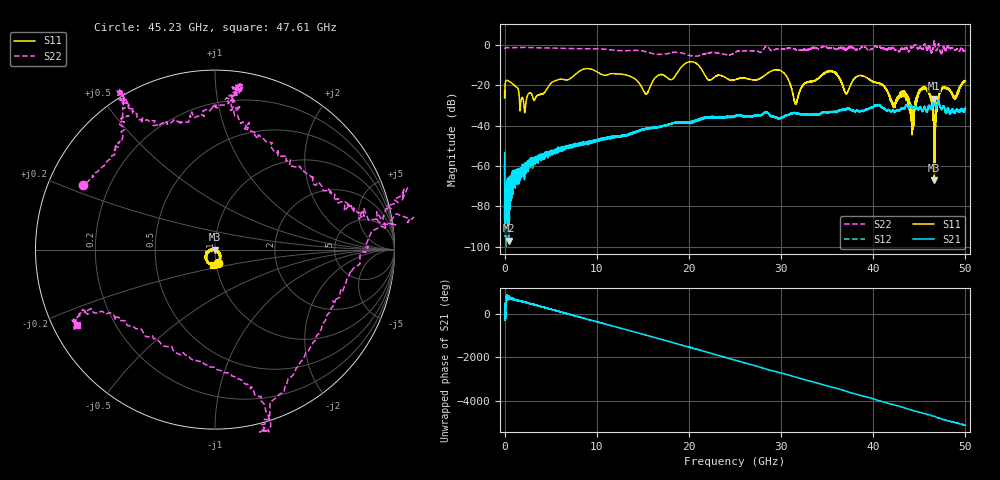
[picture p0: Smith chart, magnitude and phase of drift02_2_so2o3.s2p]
!Created with skrf (http://scikit-rf.org).
# Hz S RI R 50.0
!freq ReS11 ImS11 ReS21 ImS21 ReS12 ImS12 ReS22 ImS22
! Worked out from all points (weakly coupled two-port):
!   10001 points, 300 kHz to 50 GHz, reference 50 ohm
!   highest |S21| = -26.63 dB at 46.61 GHz (marker M1); lowest = -97.0 dB at 435.3 MHz (marker M2)
!   lowest |S11| = -67.0 dB at 46.63 GHz (marker M3), VSWR 1.00, Z = 50 - j0.0437 ohm
!   |S11| at or under -10 dB: start of sweep to 19.41 GHz; 21 GHz to end of sweep
!   |S22| runs from -5.7 to 2.1 dB; largest |S21 - S12| = 0.004
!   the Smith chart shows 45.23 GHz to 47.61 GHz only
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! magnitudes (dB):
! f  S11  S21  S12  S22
! 300 kHz  -23.0  -53.4  -59.0  -2.1
! 435.3 MHz  -17.9  -97.0  -77.0  -1.5
! 2.185 GHz  -33.6  -60.2  -65.8  -1.3
! 8.335 GHz  -12.5  -49.0  -49.3  -1.9
! 15.34 GHz  -24.4  -41.8  -41.4  -3.4
! 16.67 GHz  -15.1  -40.8  -40.8  -4.8
! 20.28 GHz  -8.4  -38.2  -38.5  -5.4
! 25 GHz  -17.3  -35.6  -35.3  -3.9
! 29.85 GHz  -12.6  -36.6  -36.3  -2.1
! 31.6 GHz  -29.1  -33.9  -33.9  -2.5
! 33.34 GHz  -18.0  -34.6  -34.5  -1.5
! 35.59 GHz  -13.5  -33.2  -33.3  -1.7
! 37.1 GHz  -24.2  -31.8  -31.7  -2.3
! 38.76 GHz  -15.3  -32.6  -32.7  -1.1
! 41.67 GHz  -24.5  -32.1  -32.2  -1.9
! 43.41 GHz  -23.1  -31.2  -31.6  -1.9
! 44.25 GHz  -34.7  -31.1  -30.9  -1.6
! 45.69 GHz  -21.5  -31.9  -32.1  -0.6
! 46.61 GHz  -44.2  -26.6  -26.8  2.1
! 46.63 GHz  -67.0  -27.6  -27.4  1.6
! 47.45 GHz  -21.7  -32.0  -31.7  -3.9
! 50 GHz  -17.9  -31.5  -31.0  -2.6
